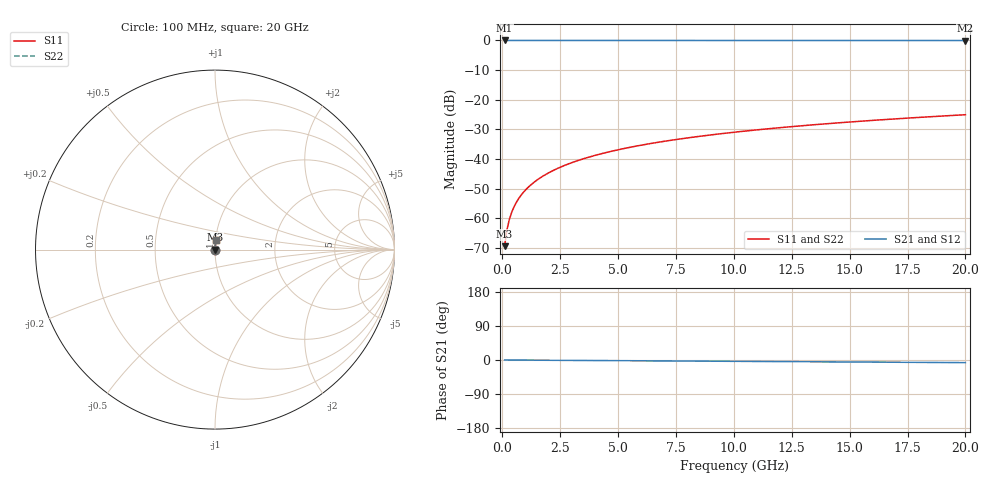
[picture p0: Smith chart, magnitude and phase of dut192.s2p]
! Touchstone file exported from HFSS 2026.1.0
!  File:  C:/ffzhzh/LocalFiles/Ansys_Project_Files/temp_train_TSV_192_1782991549_6248.aedt
!  Generated:  07:27:22 PM Jul  2, 2026
!  Design:  TSV
!  Project:  temp_train_TSV_192_1782991549_6248
! Variables:
!  h_bsmrdl = 2um
!  h_ox = 20um
!  h_rdl = 5um
!  h_sub = 52.7um
!  h_tmrdl = 5um
!  h_tsv = 52.7um
!  h_via = 3um
!  l_bsmrdl = 300um
!  l_sub = 415.74um
!  l_tmrdl = 200um
!  m_sub = 200um
!  pitch = 59.49um
!  r_tsv = 7.87um
!  s_tmrdl = 10um
!  w_bsmrdl = 18um
!  w_sub = 500um
!  w_tmrdl = 12um
!  x_tsv_center1 = 206um
!  x_tsv_center2 = 524um
!  x_tsv_center3 = 736um
!  x_tsv_center4 = 1054um
!  x_tsv_center5 = 1266um
!  x_tsv_center6 = 1584um
# GHz S MA R 50.000000
! Terminal data exported
! Port[1] = TSV1_1_T1
! Port[2] = TSV1_1_T2
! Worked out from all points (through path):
!   200 points, 100 MHz to 20 GHz, reference 50 ohm
!   highest |S21| = 0.00 dB at 100 MHz (marker M1); lowest = 0.0 dB at 20 GHz (marker M2)
!   lowest |S11| = -69.5 dB at 100 MHz (marker M3), VSWR 1.00, Z = 50 + j0.031 ohm
!   |S11| at or under -10 dB: start of sweep to end of sweep
!   |S22| runs from -69.5 to -25.1 dB; largest |S21 - S12| = 2.4e-15
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0.1  0.0003369 67.0  0.9999 -0.0  0.9999 -0.0  0.0003369 67.0
! Gamma 0 0 0 0
! Port Impedance 50 0 50 0
0.2  0.0006341 77.2  0.9999 -0.1  0.9999 -0.1  0.0006341 77.2
0.3  0.0009364 80.6  0.9998 -0.1  0.9998 -0.1  0.0009364 80.6
0.4  0.001237 82.2  0.9998 -0.1  0.9998 -0.1  0.001237 82.2
0.5  0.001535 83.0  0.9998 -0.2  0.9998 -0.2  0.001535 83.0
0.6  0.001829 83.6  0.9998 -0.2  0.9998 -0.2  0.001829 83.6
0.7  0.002121 84.0  0.9998 -0.3  0.9998 -0.3  0.002121 84.0
0.8  0.00241 84.3  0.9998 -0.3  0.9998 -0.3  0.00241 84.3
1  0.002984 84.8  0.9997 -0.4  0.9997 -0.4  0.002984 84.8
1.4  0.004122 85.4  0.9997 -0.5  0.9997 -0.5  0.004122 85.4
1.7  0.004972 85.7  0.9997 -0.6  0.9997 -0.6  0.004972 85.7
2  0.005822 85.9  0.9996 -0.7  0.9996 -0.7  0.005822 85.9
2.7  0.007803 86.2  0.9996 -1.0  0.9996 -1.0  0.007803 86.2
3.5  0.01006 86.3  0.9995 -1.2  0.9995 -1.2  0.01006 86.3
4.2  0.01203 86.3  0.9995 -1.5  0.9995 -1.5  0.01203 86.3
5  0.01428 86.2  0.9994 -1.8  0.9994 -1.8  0.01428 86.2
6.8  0.01931 85.8  0.9992 -2.4  0.9992 -2.4  0.01931 85.8
8.3  0.02348 85.4  0.999 -2.9  0.999 -2.9  0.02348 85.4
10.1  0.02848 85.0  0.9989 -3.5  0.9989 -3.5  0.02848 85.0
13.4  0.03761 84.0  0.9984 -4.7  0.9984 -4.7  0.03761 84.0
16.7  0.0467 83.0  0.998 -5.8  0.998 -5.8  0.0467 83.0
20  0.05574 82.0  0.9974 -7.0  0.9974 -7.0  0.05574 82.0
